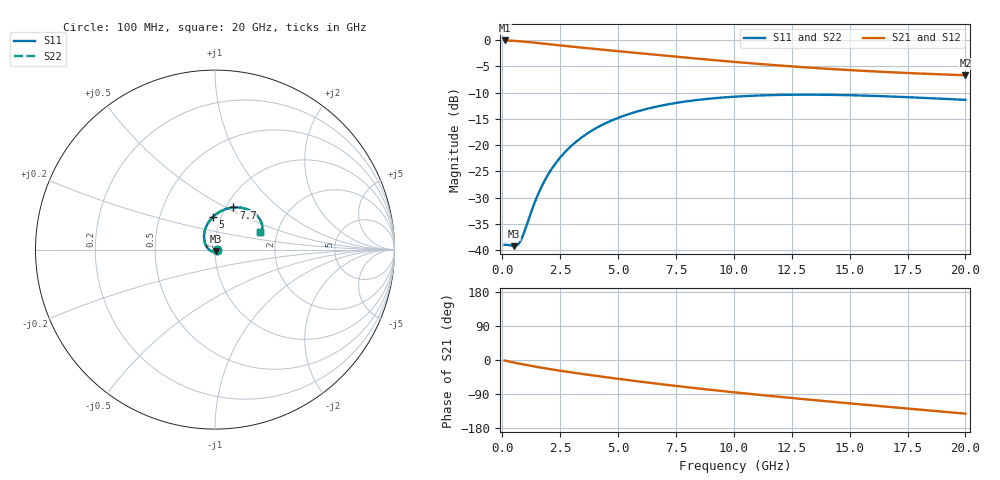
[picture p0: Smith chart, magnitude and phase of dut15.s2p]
! Touchstone file exported from HFSS 2024.1.0
!  File:  C:/UserFiles/LocalFiles/RDL_TSV_Batchsim/temp_RDL_TSV_15_1779398663.aedt
!  Generated:  05:37:35 AM May 22, 2026
!  Design:  RDL_TSV
!  Project:  temp_RDL_TSV_15_1779398663
!  Setup:  Setup1
!  Solution:  Sweep
! Variables:
!  dtsv = 13.07um
!  hbump = 3um
!  htsv = 52.8um
!  ldown = 481.26um
!  lrdl = 151.53um
!  p = 40
!  p1 = 48.98um
!  rhole = 10um
!  subl = 2049.9um
!  t = 450um
!  tdown = 2.49um
!  trdl = 3.73um
!  viad = 10um
!  wdown = 24.63um
!  wrdl = 23.95um
!  xbump = 18um
# GHz S MA R 50.000000
! Terminal data exported
! Port[1] = TM1_1_T1
! Port[2] = TM1_4_T1
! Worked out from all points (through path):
!   200 points, 100 MHz to 20 GHz, reference 50 ohm
!   highest |S21| = -0.10 dB at 100 MHz (marker M1); lowest = -6.7 dB at 20 GHz (marker M2)
!   group delay of S21, straight-line fit = 18.6 ps
!   lowest |S11| = -39.2 dB at 500 MHz (marker M3), VSWR 1.02, Z = 50.6 - j0.925 ohm
!   |S11| at or under -10 dB: start of sweep to end of sweep
!   |S22| runs from -39.2 to -10.4 dB; largest |S21 - S12| = 1.7e-14
!   S11 on the Smith chart (normalised r, x): 100 MHz: 1.02, -0.00; 5 GHz: 0.91, +0.34; 7.7 GHz: 1.09, +0.54; 20 GHz: 1.63, +0.34
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0.1  0.0113 -8.5  0.9882 -1.4  0.9882 -1.4  0.0113 -8.5
! Gamma 0 0 0 0
! Port Impedance 50 0 50 0
0.5  0.01097 -56.4  0.9796 -6.6  0.9796 -6.6  0.01098 -56.4
0.7  0.01149 -89.5  0.9729 -9.1  0.9729 -9.1  0.0115 -89.4
0.8  0.01246 -106.2  0.9691 -10.3  0.9691 -10.3  0.01247 -106.2
0.9  0.01401 -121.7  0.965 -11.5  0.965 -11.5  0.01401 -121.7
1.3  0.02498 -165.2  0.9465 -16.2  0.9465 -16.2  0.02497 -165.1
1.5  0.03236 -179.0  0.9366 -18.3  0.9366 -18.3  0.03235 -178.9
1.8  0.04473 165.4  0.9213 -21.5  0.9213 -21.5  0.04471 165.5
2.1  0.05801 153.4  0.9061 -24.5  0.9061 -24.5  0.05799 153.4
2.4  0.07174 143.6  0.8913 -27.4  0.8913 -27.4  0.07171 143.6
2.7  0.0856 135.2  0.8771 -30.1  0.8771 -30.1  0.08556 135.2
3.5  0.1218 117.4  0.8415 -37.2  0.8415 -37.2  0.1217 117.5
4.2  0.1512 105.4  0.8127 -43.1  0.8127 -43.1  0.1512 105.4
5  0.1816 94.0  0.7816 -49.6  0.7816 -49.6  0.1815 94.0
5.8  0.2082 84.4  0.7519 -55.9  0.7519 -55.9  0.2081 84.5
6.8  0.2359 74.3  0.7166 -63.4  0.7166 -63.4  0.2358 74.3
7.7  0.2558 66.5  0.6865 -69.8  0.6865 -69.8  0.2558 66.5
10.1  0.2895 50.0  0.6159 -85.8  0.6159 -85.8  0.2894 50.0
11.7  0.2993 41.6  0.5771 -95.6  0.5771 -95.6  0.2992 41.7
13.4  0.3017 34.5  0.5429 -105.5  0.5429 -105.5  0.3016 34.5
16.7  0.2905 25.0  0.4938 -123.8  0.4938 -123.8  0.2905 25.0
20  0.2694 20.8  0.4618 -141.6  0.4618 -141.6  0.2695 20.8
